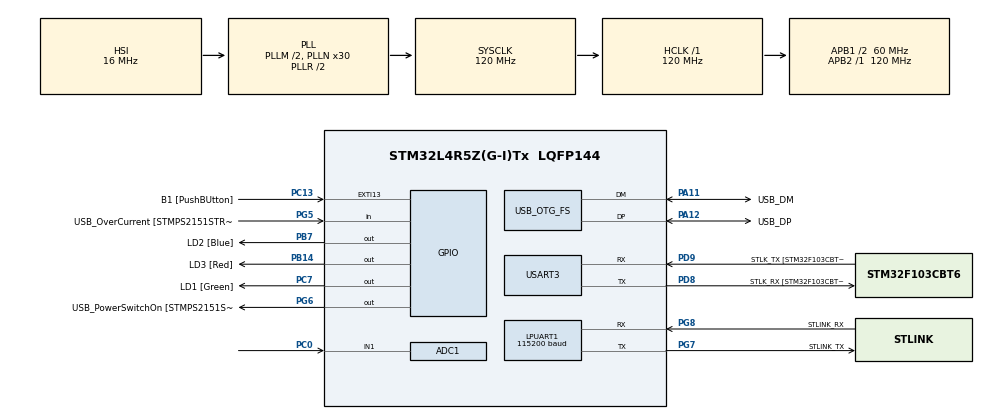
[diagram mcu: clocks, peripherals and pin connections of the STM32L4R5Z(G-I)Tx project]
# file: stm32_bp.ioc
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ADC1.Channel-0\#ChannelRegularConversion=ADC_CHANNEL_TEMPSENSOR
ADC1.Channel-1\#ChannelRegularConversion=ADC_CHANNEL_1
ADC1.ContinuousConvMode=DISABLE
ADC1.DMAContinuousRequests=ENABLE
ADC1.ExternalTrigConv=ADC_EXTERNALTRIG_T3_TRGO
ADC1.NbrOfConversion=2
ADC1.NbrOfConversionFlag=1
ADC1.OffsetNumber-0\#ChannelRegularConversion=ADC_OFFSET_NONE
ADC1.OffsetNumber-1\#ChannelRegularConversion=ADC_OFFSET_NONE
ADC1.Rank-0\#ChannelRegularConversion=1
ADC1.Rank-1\#ChannelRegularConversion=2
ADC1.SamplingTime-0\#ChannelRegularConversion=ADC_SAMPLETIME_247CYCLES_5
ADC1.SamplingTime-1\#ChannelRegularConversion=ADC_SAMPLETIME_247CYCLES_5
ADC1.master=1
Dma.ADC1.1.Direction=DMA_PERIPH_TO_MEMORY
Dma.ADC1.1.EventEnable=DISABLE
Dma.ADC1.1.Instance=DMA1_Channel1
Dma.ADC1.1.MemDataAlignment=DMA_MDATAALIGN_HALFWORD
Dma.ADC1.1.MemInc=DMA_MINC_ENABLE
Dma.ADC1.1.Mode=DMA_CIRCULAR
Dma.ADC1.1.PeriphDataAlignment=DMA_PDATAALIGN_HALFWORD
Dma.ADC1.1.PeriphInc=DMA_PINC_DISABLE
Dma.ADC1.1.Polarity=HAL_DMAMUX_REQUEST_GEN_RISING
Dma.ADC1.1.Priority=DMA_PRIORITY_LOW
Dma.ADC1.1.RequestNumber=1
Dma.ADC1.1.SignalID=NONE
Dma.ADC1.1.SyncEnable=DISABLE
Dma.ADC1.1.SyncPolarity=HAL_DMAMUX_SYNC_NO_EVENT
Dma.ADC1.1.SyncRequestNumber=1
Dma.ADC1.1.SyncSignalID=NONE
Dma.MEMTOMEM.0.Direction=DMA_MEMORY_TO_MEMORY
Dma.MEMTOMEM.0.EventEnable=DISABLE
Dma.MEMTOMEM.0.Instance=DMA1_Channel2
Dma.MEMTOMEM.0.MemDataAlignment=DMA_MDATAALIGN_WORD
Dma.MEMTOMEM.0.MemInc=DMA_MINC_ENABLE
Dma.MEMTOMEM.0.Mode=DMA_NORMAL
Dma.MEMTOMEM.0.PeriphDataAlignment=DMA_PDATAALIGN_WORD
Dma.MEMTOMEM.0.PeriphInc=DMA_PINC_ENABLE
Dma.MEMTOMEM.0.Polarity=HAL_DMAMUX_REQUEST_GEN_RISING
Dma.MEMTOMEM.0.Priority=DMA_PRIORITY_LOW
Dma.MEMTOMEM.0.RequestNumber=1
Dma.MEMTOMEM.0.SignalID=NONE
Dma.MEMTOMEM.0.SyncEnable=DISABLE
Dma.MEMTOMEM.0.SyncPolarity=HAL_DMAMUX_SYNC_NO_EVENT
Dma.MEMTOMEM.0.SyncRequestNumber=1
Dma.MEMTOMEM.0.SyncSignalID=NONE
Dma.Request0=MEMTOMEM
Dma.Request1=ADC1
LPUART1.BaudRate=115200
LPUART1.WordLength=UART_WORDLENGTH_8B
Mcu.Family=STM32L4
Mcu.Name=STM32L4R5Z(G-I)Tx
Mcu.Package=LQFP144
NVIC.ADC1_IRQn=true\:0\:0\:false\:false\:true\:true\:true\:true
NVIC.DMA1_Channel1_IRQn=true\:0\:0\:false\:false\:true\:false\:true\:true
NVIC.DMA1_Channel2_IRQn=true\:0\:0\:false\:false\:true\:true\:true\:true
NVIC.EXTI15_10_IRQn=true\:0\:0\:false\:false\:true\:true\:true\:true
NVIC.LPUART1_IRQn=true\:0\:0\:false\:false\:true\:true\:true\:true
NVIC.OTG_FS_IRQn=true\:0\:0\:false\:false\:true\:false\:true\:true
NVIC.PriorityGroup=NVIC_PRIORITYGROUP_4
NVIC.TIM3_IRQn=true\:0\:0\:false\:false\:true\:true\:true\:true
NVIC.TIM6_DAC_IRQn=true\:0\:0\:false\:false\:true\:true\:true\:true
PA10.GPIO_Label=USB_ID
PA10.Signal=USB_OTG_FS_ID
PA11.GPIO_Label=USB_DM
PA11.Mode=Device_Only
PA11.Signal=USB_OTG_FS_DM
PA12.GPIO_Label=USB_DP
PA12.Mode=Device_Only
PA12.Signal=USB_OTG_FS_DP
PA13\ (JTMS/SWDIO).GPIO_Label=TMS
PA13\ (JTMS/SWDIO).Mode=Trace_Asynchronous_SW
PA13\ (JTMS/SWDIO).Signal=SYS_JTMS-SWDIO
PA14\ (JTCK/SWCLK).GPIO_Label=TCK
PA14\ (JTCK/SWCLK).Mode=Trace_Asynchronous_SW
PA14\ (JTCK/SWCLK).Signal=SYS_JTCK-SWCLK
PA8.GPIO_Label=USB_SOF [TP1]
PA8.Signal=USB_OTG_FS_SOF
PA9.GPIO_Label=USB_VBUS
PA9.Signal=USB_OTG_FS_VBUS
PB14.GPIO_Label=LD3 [Red]
PB14.GPIO_PuPd=GPIO_NOPULL
PB14.Signal=GPIO_Output
PB3\ (JTDO/TRACESWO).GPIO_Label=SWO
PB3\ (JTDO/TRACESWO).Mode=Trace_Asynchronous_SW
PB3\ (JTDO/TRACESWO).Signal=SYS_JTDO-SWO
PB7.GPIO_Label=LD2 [Blue]
PB7.Signal=GPIO_Output
PC0.Signal=ADCx_IN1
PC13.GPIO_Label=B1 [PushBUtton]
PC13.GPIO_ModeDefaultEXTI=GPIO_MODE_IT_RISING
PC13.GPIO_PuPd=GPIO_NOPULL
PC13.Signal=GPXTI13
PC14-OSC32_IN\ (PC14).Mode=LSE-External-Oscillator
PC14-OSC32_IN\ (PC14).Signal=RCC_OSC32_IN
PC15-OSC32_OUT\ (PC15).Mode=LSE-External-Oscillator
PC15-OSC32_OUT\ (PC15).Signal=RCC_OSC32_OUT
PC7.GPIO_Label=LD1 [Green]
PC7.Signal=GPIO_Output
PD8.GPIO_Label=STLK_RX [STM32F103CBT6_PA3]
PD8.Mode=Asynchronous
PD8.Signal=USART3_TX
PD9.GPIO_Label=STLK_TX [STM32F103CBT6_PA2]
PD9.Mode=Asynchronous
PD9.Signal=USART3_RX
PG5.GPIO_Label=USB_OverCurrent [STMPS2151STR_FAULT]
PG5.Signal=GPIO_Input
PG6.GPIO_Label=USB_PowerSwitchOn [STMPS2151STR_EN]
PG6.Signal=GPIO_Output
PG7.GPIO_Label=STLINK_TX
PG7.Mode=Asynchronous
PG7.Signal=LPUART1_TX
PG8.GPIO_Label=STLINK_RX
PG8.Mode=Asynchronous
PG8.Signal=LPUART1_RX
PH0-OSC_IN\ (PH0).Mode=HSE-External-Oscillator
PH0-OSC_IN\ (PH0).Signal=RCC_OSC_IN
PH1-OSC_OUT\ (PH1).Mode=HSE-External-Oscillator
PH1-OSC_OUT\ (PH1).Signal=RCC_OSC_OUT
ProjectManager.HeapSize=0x200
ProjectManager.StackSize=0x400
ProjectManager.TargetToolchain=STM32CubeIDE
RCC.48MHZClocksFreq_Value=24000000
RCC.ADCFreq_Value=96000000
RCC.AHBFreq_Value=120000000
RCC.APB1CLKDivider=RCC_HCLK_DIV2
RCC.APB1Freq_Value=60000000
RCC.APB1TimFreq_Value=120000000
RCC.APB2Freq_Value=120000000
RCC.APB2TimFreq_Value=120000000
RCC.CK48CLockSelection=RCC_USBCLKSOURCE_HSI48
RCC.CortexFreq_Value=120000000
RCC.HCLKFreq_Value=120000000
RCC.HSE_VALUE=8000000
RCC.HSI48_VALUE=48000000
RCC.HSI_VALUE=16000000
RCC.MSI_VALUE=4000000
RCC.PLLM1=2
RCC.PLLMUL=RCC_PLL_MUL9
RCC.PLLN=30
RCC.PLLSAI1N=12
RCC.PLLSourceVirtual=RCC_PLLSOURCE_HSI
RCC.PRESCALERUSB=RCC_USBCLKSOURCE_PLL_DIV1_5
RCC.SYSCLKFreq_VALUE=120000000
RCC.SYSCLKSource=RCC_SYSCLKSOURCE_PLLCLK
RCC.SYSCLKSourceVirtual=RCC_SYSCLKSOURCE_PLLCLK
RCC.USBFreq_Value=48000000
RCC.VCOOutputFreq_Value=240000000
SH.ADCx_IN1.0=ADC1_IN1,IN1-Single-Ended
TIM3.AutoReloadPreload=TIM_AUTORELOAD_PRELOAD_DISABLE
TIM3.Period=60000-1
TIM3.Prescaler=200-1
TIM3.TIM_MasterOutputTrigger=TIM_TRGO_UPDATE
TIM6.Period=12000
TIM6.Prescaler=10000
TIM6.TIM_MasterOutputTrigger=TIM_TRGO_UPDATE
USART3.VirtualMode-Asynchronous=VM_ASYNC
USB_DEVICE.CLASS_NAME_FS=CDC
USB_DEVICE.VirtualMode=Cdc
USB_DEVICE.VirtualModeFS=Cdc_FS
USB_OTG_FS.VirtualMode=Device_Only
VP_ADC1_TempSens_Input.Mode=IN-TempSens
VP_TIM3_VS_ClockSourceINT.Mode=Internal
VP_TIM5_VS_ClockSourceINT.Mode=Internal
VP_TIM6_VS_ClockSourceINT.Mode=Enable_Timer
VP_USB_DEVICE_VS_USB_DEVICE_CDC_FS.Mode=CDC_FS
board=NUCLEO-L4R5ZI

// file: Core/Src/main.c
/* USER CODE BEGIN Header */
/**
 ******************************************************************************
 * @file           : main.c
 * @brief          : Main program body
 ******************************************************************************
 * @attention
 *
 * Copyright (c) 2024 STMicroelectronics.
 * All rights reserved.
 *
 * This software is licensed under terms that can be found in the LICENSE file
 * in the root directory of this software component.
 * If no LICENSE file comes with this software, it is provided AS-IS.
 *
 ******************************************************************************
 */
/* USER CODE END Header */
#include "main.h"
#include "adc.h"
#include "dma.h"
#include "usart.h"
#include "tim.h"
#include "usb_device.h"
#include "gpio.h"

/* USER CODE BEGIN Includes */

#include "comms_data_rxtx.h"
#include "math.h"

/* USER CODE END Includes */

/* USER CODE BEGIN PD */

#define VREF 3.3f // Referenční napětí ADC
#define ADC_RESOLUTION 4096.0f // Rozlišení ADC (12-bit)
#define TS_CAL1_ADDR  ((uint16_t*)0x1FFF75A8) // Factory-calibrated value at 30°C
#define TS_CAL2_ADDR  ((uint16_t*)0x1FFF75CA) // Factory-calibrated value at 110°C
#define TEMP30_CAL_V  *TS_CAL1_ADDR // ADC hodnota při 30°C
#define TEMP110_CAL_V *TS_CAL2_ADDR // ADC hodnota při 110°C
#define TEMP_DIFF  (110.0f - 30.0f) // Rozdíl teplot mezi kalibracemi

/* USER CODE END PD */

/* USER CODE BEGIN PV */

//promenna pro stavovy automat nacitani dat prichazejicich po seriove lince
int rx_state = 0;

//promenna pro odesilani zpetne vazby do matlabu
int periodical = 0;

//promenne casovace
uint32_t tic, toc, dma_tic, dma_toc;

//testovaci pole, zjistovani casu potrebneho ke kopirovani dat
float dma[1000];
float cpy[1000];

//promenna pro DMA kruhovy buffer
uint16_t dma_data_buffer[200];

float adcValue = 0.0f;
int adcValueInt = 0;
float temperature = 0.0f;

float adcIn1 = 0.0f;

float vref_actual = 0.0f;

int numOfCalling = 0;

int temperatureInt = 0;
int adcIn1Int = 0;

int call_count = 0;

int full_adc = 0;

int fails = 0;

/* USER CODE END PV */

void SystemClock_Config(void);

/* USER CODE BEGIN 0 */

void HAL_TIM_PeriodElapsedCallback(TIM_HandleTypeDef *htim) {
	//callback pro casovac
	UNUSED(htim);

	if (htim == &htim6) {
		HAL_GPIO_TogglePin(LD2_GPIO_Port, LD2_Pin);

		// zvysovani promenne periodical
		periodical += 1;

		//odeslani do matlabu
		comms_append_int32(1, 1, &periodical);
	}

	if (htim == &htim3) {
			//HAL_GPIO_TogglePin(LD1_GPIO_Port, LD1_Pin);
		}
}

char testdata[10];

/* ------------------ DMA FUNKCE A CALLBACKY ------------------ */
void myDmaFunction(DMA_HandleTypeDef *_hdma) {
	dma_tic = htim5.Instance->CNT;
	dma_toc = htim5.Instance->CNT;
}

void HAL_ADC_ConvCpltCallback(ADC_HandleTypeDef *hadc) {
    UNUSED(hadc);
    //HAL_GPIO_TogglePin(LD3_GPIO_Port, LD3_Pin);

    ++call_count;

    // Průměrování ADC hodnot
    adcValue = 0.0f;
    adcIn1 = 0.0f;

    for (int i = 0; i < 10; i++) {
        adcValue += dma_data_buffer[i + 10]; // Použití druhé poloviny DMA bufferu
        adcIn1 += dma_data_buffer[i + 1 + 10];
        i++;
    }
    adcValue /= 50.0f;
    adcIn1 /= 50.0f;

    // Převod ADC hodnoty na napětí
    float adcVoltage = (adcValue / ADC_RESOLUTION) * VREF;
    //float adcVoltage = 1.21;

    // Výpočet teploty
    float temp30 = ((float)TEMP30_CAL_V / ADC_RESOLUTION) * VREF;
    float temp110 = ((float)TEMP110_CAL_V / ADC_RESOLUTION) * VREF;
    //temperature = ((adcVoltage - temp30) * TEMP_DIFF / (temp110 - temp30)) + 30.0f;
    temperature = ((adcVoltage - temp30) * TEMP_DIFF) + 30.0f;
    //temperature = ((110.0 - 30.0)/(TEMP110_CAL_V - TEMP30_CAL_V)) * (adcValue - TEMP30_CAL_V) + 30.0;
    numOfCalling++;

    // Odeslání teploty jako integer
    temperatureInt = (int)temperature;
    temperatureInt = 23;

    adcIn1Int = (int)adcIn1;

    full_adc++;

    comms_append_int32(2, 1, &temperatureInt);
    comms_append_int32(23, 1, &adcIn1Int);
}

void HAL_ADC_ConvHalfCpltCallback(ADC_HandleTypeDef *hadc) {
	UNUSED(hadc);

//	adcValue = 0;
//	for (int i = 0; i < 100; i++) {
//		adcValue = adcValue + dma_data_buffer[i];
//	}
//	adcValue = adcValue / 100;
//	adcValueInt = (int) adcValue;

}

void load_CPU() {
    // Alokace dvou velkých polí
    uint32_t *src_array = (uint32_t*)malloc(1000000 * sizeof(uint32_t));
    uint32_t *dest_array = (uint32_t*)malloc(1000000 * sizeof(uint32_t));

    if (src_array == NULL || dest_array == NULL) {
        // Pokud se nepodaří alokovat paměť
        return;
    }

    // Naplnění zdrojového pole hodnotami
    for (uint32_t i = 0; i < 1000000; i++) {
        src_array[i] = i;
    }

    // Opakované kopírování polí pro zatížení CPU
    for (uint32_t repeat = 0; repeat < 100000; repeat++) {
        for (uint32_t i = 0; i < 1000000; i++) {
            dest_array[i] = src_array[i];
            int test = 999999999 / 190241835;
        }
    }

    // Uvolnění paměti
    free(src_array);
    free(dest_array);
}

/* USER CODE END 0 */

int main(void)
{

  /* MCU Configuration--------------------------------------------------------*/

  /* Reset of all peripherals, Initializes the Flash interface and the Systick. */
  HAL_Init();

  /* Configure the system clock */
  SystemClock_Config();

  /* Initialize all configured peripherals */
  MX_GPIO_Init();
  MX_DMA_Init();
  MX_TIM6_Init();
  MX_USB_DEVICE_Init();
  MX_TIM5_Init();
  MX_ADC1_Init();
  MX_TIM3_Init();
  MX_USART3_UART_Init();
  MX_LPUART1_UART_Init();
  /* USER CODE BEGIN 2 */

	// zapnuti zelene ledky
	HAL_GPIO_WritePin(LD1_GPIO_Port, LD1_Pin, GPIO_PIN_SET);

	// volani casovace
	HAL_TIM_Base_Start_IT(&htim6);

	//zjistovani casu potrebneho pro kopirovani mezi poli
	HAL_TIM_Base_Start(&htim5);

	for (int i = 0; i < 1000; i++) {
		dma[i] = i;
	}

	//tic = htim5.Instance->CNT;
	//memcpy(cpy, dma, 500*sizeof(float));
	//toc = htim5.Instance->CNT;

	HAL_StatusTypeDef status = HAL_DMA_RegisterCallback(
			&hdma_memtomem_dma1_channel2, HAL_DMA_XFER_CPLT_CB_ID,
			&myDmaFunction);
	UNUSED(status);

	tic = htim5.Instance->CNT;
	HAL_DMA_Start_IT(&hdma_memtomem_dma1_channel2, dma, cpy, 1000);
	dma_toc = htim5.Instance->CNT;
	toc = htim5.Instance->CNT;

	HAL_ADCEx_Calibration_Start(&hadc1, ADC_SINGLE_ENDED);

	HAL_Delay(50);

	HAL_StatusTypeDef adc_status = HAL_ADC_Start_DMA(&hadc1, dma_data_buffer, 20);

	HAL_TIM_Base_Start_IT(&htim3);

	comms_init();
	comms_uart_init();

  /* USER CODE END 2 */

  /* Infinite loop */
	while (1) {

    /* USER CODE BEGIN 3 */

		//load_CPU();

		int returnStatus = comms_send();
		if (returnStatus == COMMS_TX_UART_FAIL || returnStatus == COMMS_TX_CDC_FAIL){
			fails++;
		}

		//zprocesovani prijmu dat
		comms_rx_process();

	}
  /* USER CODE END 3 */
}

void SystemClock_Config(void)
{
  RCC_OscInitTypeDef RCC_OscInitStruct = {0};
  RCC_ClkInitTypeDef RCC_ClkInitStruct = {0};

  /** Configure the main internal regulator output voltage
  */
  if (HAL_PWREx_ControlVoltageScaling(PWR_REGULATOR_VOLTAGE_SCALE1_BOOST) != HAL_OK)
  {
    Error_Handler();
  }

  /** Initializes the RCC Oscillators according to the specified parameters
  * in the RCC_OscInitTypeDef structure.
  */
  RCC_OscInitStruct.OscillatorType = RCC_OSCILLATORTYPE_HSI48|RCC_OSCILLATORTYPE_HSI;
  RCC_OscInitStruct.HSIState = RCC_HSI_ON;
  RCC_OscInitStruct.HSI48State = RCC_HSI48_ON;
  RCC_OscInitStruct.HSICalibrationValue = RCC_HSICALIBRATION_DEFAULT;
  RCC_OscInitStruct.PLL.PLLState = RCC_PLL_ON;
  RCC_OscInitStruct.PLL.PLLSource = RCC_PLLSOURCE_HSI;
  RCC_OscInitStruct.PLL.PLLM = 2;
  RCC_OscInitStruct.PLL.PLLN = 30;
  RCC_OscInitStruct.PLL.PLLP = RCC_PLLP_DIV2;
  RCC_OscInitStruct.PLL.PLLQ = RCC_PLLQ_DIV2;
  RCC_OscInitStruct.PLL.PLLR = RCC_PLLR_DIV2;
  if (HAL_RCC_OscConfig(&RCC_OscInitStruct) != HAL_OK)
  {
    Error_Handler();
  }

  /** Initializes the CPU, AHB and APB buses clocks
  */
  RCC_ClkInitStruct.ClockType = RCC_CLOCKTYPE_HCLK|RCC_CLOCKTYPE_SYSCLK
                              |RCC_CLOCKTYPE_PCLK1|RCC_CLOCKTYPE_PCLK2;
  RCC_ClkInitStruct.SYSCLKSource = RCC_SYSCLKSOURCE_PLLCLK;
  RCC_ClkInitStruct.AHBCLKDivider = RCC_SYSCLK_DIV1;
  RCC_ClkInitStruct.APB1CLKDivider = RCC_HCLK_DIV2;
  RCC_ClkInitStruct.APB2CLKDivider = RCC_HCLK_DIV1;

  if (HAL_RCC_ClockConfig(&RCC_ClkInitStruct, FLASH_LATENCY_5) != HAL_OK)
  {
    Error_Handler();
  }
}

void Error_Handler(void)
{
	__disable_irq();
	while (1) {
	}
}
